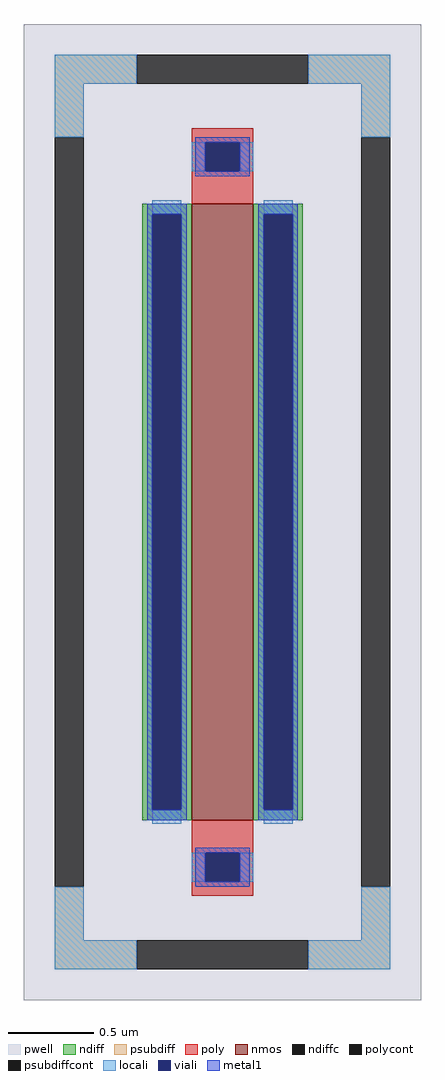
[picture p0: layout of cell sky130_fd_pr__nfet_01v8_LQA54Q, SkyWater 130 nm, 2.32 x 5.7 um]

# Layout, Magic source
magic
tech sky130B
<< pwell >>
rect -116 -285 116 285
<< nmos >>
rect -18 -180 18 180
<< ndiff >>
rect -47 174 -18 180
rect -47 -174 -41 174
rect -24 -174 -18 174
rect -47 -180 -18 -174
rect 18 174 47 180
rect 18 -174 24 174
rect 41 -174 47 174
rect 18 -180 47 -174
<< ndiffc >>
rect -41 -174 -24 174
rect 24 -174 41 174
<< psubdiff >>
rect -98 250 -50 267
rect 50 250 98 267
rect -98 219 -81 250
rect 81 219 98 250
rect -98 -250 -81 -219
rect 81 -250 98 -219
rect -98 -267 -50 -250
rect 50 -267 98 -250
<< psubdiffcont >>
rect -50 250 50 267
rect -98 -219 -81 219
rect 81 -219 98 219
rect -50 -267 50 -250
<< poly >>
rect -18 216 18 224
rect -18 199 -10 216
rect 10 199 18 216
rect -18 180 18 199
rect -18 -199 18 -180
rect -18 -216 -10 -199
rect 10 -216 18 -199
rect -18 -224 18 -216
<< polycont >>
rect -10 199 10 216
rect -10 -216 10 -199
<< locali >>
rect -98 250 -50 267
rect 50 250 98 267
rect -98 219 -81 250
rect 81 219 98 250
rect -18 199 -10 216
rect 10 199 18 216
rect -41 174 -24 182
rect -41 -182 -24 -174
rect 24 174 41 182
rect 24 -182 41 -174
rect -18 -216 -10 -199
rect 10 -216 18 -199
rect -98 -250 -81 -219
rect 81 -250 98 -219
rect -98 -267 -50 -250
rect 50 -267 98 -250
<< viali >>
rect -10 199 10 216
rect -41 -174 -24 174
rect 24 -174 41 174
rect -10 -216 10 -199
<< metal1 >>
rect -16 216 16 219
rect -16 199 -10 216
rect 10 199 16 216
rect -16 196 16 199
rect -44 174 -21 180
rect -44 -174 -41 174
rect -24 -174 -21 174
rect -44 -180 -21 -174
rect 21 174 44 180
rect 21 -174 24 174
rect 41 -174 44 174
rect 21 -180 44 -174
rect -16 -199 16 -196
rect -16 -216 -10 -199
rect 10 -216 16 -199
rect -16 -219 16 -216
<< properties >>
string FIXED_BBOX -89 -258 89 258
string gencell sky130_fd_pr__nfet_01v8
string library sky130
string parameters w 3.6 l 0.36 m 1 nf 1 diffcov 100 polycov 100 guard 1 glc 1 grc 1 gtc 1 gbc 1 tbcov 100 rlcov 100 topc 1 botc 1 poverlap 0 doverlap 1 lmin 0.15 wmin 0.42 compatible {sky130_fd_pr__nfet_01v8 sky130_fd_pr__nfet_01v8_lvt  sky130_fd_bs_flash__special_sonosfet_star  sky130_fd_pr__nfet_g5v0d10v5 sky130_fd_pr__nfet_05v0_nvt  sky130_fd_pr__nfet_03v3_nvt} full_metal 1 viasrc 100 viadrn 100 viagate 100 viagb 0 viagr 0 viagl 0 viagt 0
<< end >>
